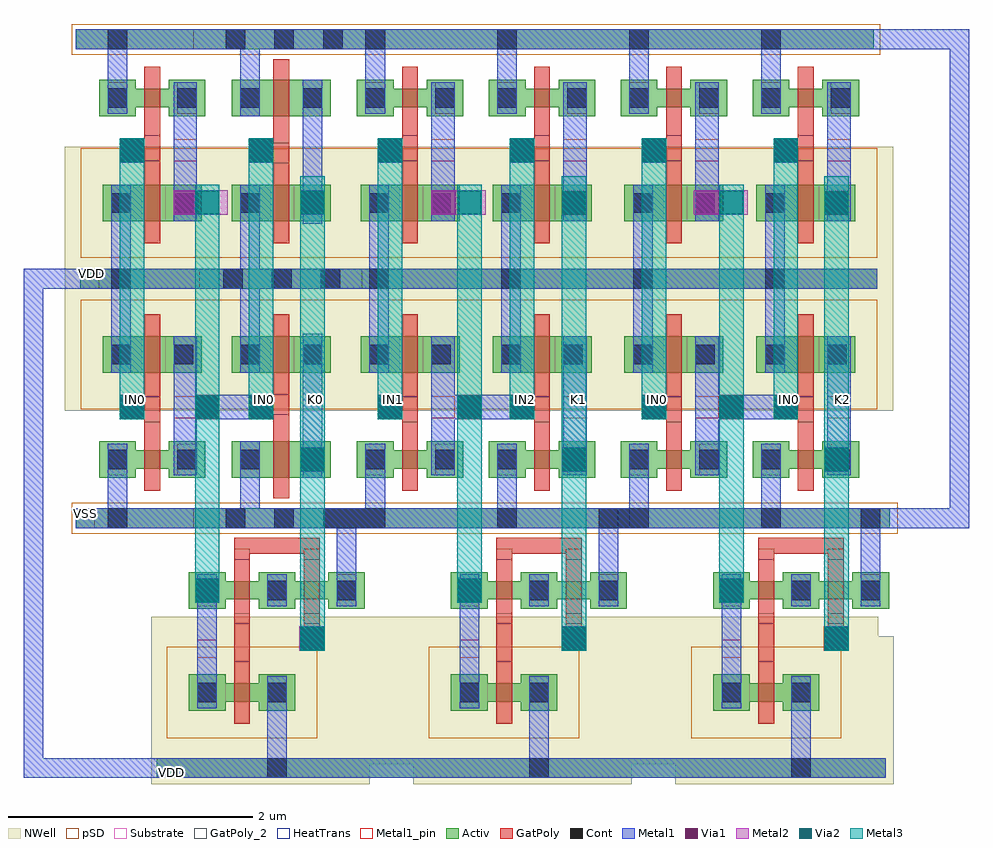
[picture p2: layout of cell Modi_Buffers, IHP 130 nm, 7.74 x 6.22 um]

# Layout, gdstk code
from math import pi, radians
import gdstk
lib = gdstk.Library(unit=1e-6, precision=5e-09)
def R(c, l, rs):  # rectangles x0, y0, x1, y1
    for r in rs: c.add(gdstk.rectangle(r[:2], r[2:], *l))
def A(c, l, x, y, w, h, nx, ny, dx, dy):  # array of equal rectangles
    R(c, l, [(x+i*dx, y+j*dy, x+i*dx+w, y+j*dy+h) for i in range(nx) for j in range(ny)])
Activ = (1, 0)
GatPoly = (5, 0)
GatPoly_2 = (5, 2)
Cont = (6, 0)
Metal1 = (8, 0)
Metal1_pin = (8, 2)
Metal2 = (10, 0)
pSD = (14, 0)
Via1 = (19, 0)
Via2 = (29, 0)
Metal3 = (30, 0)
NWell = (31, 0)
Substrate = (40, 0)
HeatTrans = (51, 0)

pmos_13 = lib.new_cell('pmos$13')
R(pmos_13, Activ, [(0,0.19,0.3,0.49), (0.57,0.19,0.87,0.49), (0,0.265,0.87,0.415)])
R(pmos_13, GatPoly, [(0.37,0.085,0.5,0.595), (0.37,0.085,0.5,0.595)])
R(pmos_13, Cont, [(0.07,0.26,0.23,0.42), (0.64,0.26,0.8,0.42)])
R(pmos_13, Metal1, [(0.07,0.21,0.23,0.47), (0.07,0.21,0.23,0.47), (0.64,0.21,0.8,0.47), (0.64,0.21,0.8,0.47)])
R(pmos_13, pSD, [(-0.18,-0.035,1.05,0.715)])
R(pmos_13, NWell, [(-0.31,-0.12,1.18,0.8)])
R(pmos_13, Substrate, [(0.57,0.19,0.87,0.49)])
R(pmos_13, HeatTrans, [(0.37,0.085,0.5,0.595)])
pmos_13.add(gdstk.Label('pmos', (0.435,0.34), layer=63, texttype=0))
pmos_13.add(gdstk.Label('pmos', (0.435,0.34), layer=51, texttype=0))

nmos_14 = lib.new_cell('nmos$14')
R(nmos_14, Activ, [(0,0.085,0.3,0.385), (0.57,0.085,0.87,0.385), (0,0.16,0.87,0.31)])
R(nmos_14, GatPoly, [(0.37,-0.02,0.5,0.51)])
R(nmos_14, GatPoly_2, [(0.37,-0.105,0.5,0.425)])
R(nmos_14, Cont, [(0.07,0.155,0.23,0.315), (0.64,0.155,0.8,0.315)])
R(nmos_14, Metal1, [(0.07,0.105,0.23,0.365), (0.64,0.105,0.8,0.365)])
R(nmos_14, Metal1_pin, [(0.07,0.105,0.23,0.365), (0.64,0.105,0.8,0.365)])
R(nmos_14, HeatTrans, [(0.37,-0.02,0.5,0.51)])
nmos_14.add(gdstk.Label('nmos', (0.435,0.235), layer=63, texttype=0))
nmos_14.add(gdstk.Label('nmos', (0.435,0.235), layer=51, texttype=0))

inv05 = lib.new_cell('INV05')
R(inv05, Activ, [(0.065,0.045,1.74,0.205), (0.095,2.09,1.775,2.25)])
R(inv05, GatPoly, [(0.44,0.99,0.57,1.01), (1.01,0.99,1.14,1.075), (0.405,1.01,0.605,1.21)])
R(inv05, GatPoly_2, [(0.44,0.765,0.57,0.905)])
R(inv05, Cont, [(0.14,0.045,0.3,0.205), (0.425,1.03,0.585,1.19), (0.71,2.09,0.87,2.25)])
R(inv05, Metal1, [(0.425,1.03,0.585,1.19)])
R(inv05, Metal1_pin, [(0.14,0.045,0.3,0.205), (1.28,1.12,1.44,1.265), (0.71,2.09,0.87,2.25)])
R(inv05, pSD, [(0,0,1.815,0.25)])
R(inv05, NWell, [(0.03,1.09,0.33,2.01), (0.03,2.01,1.82,2.3)])
inv05.add(gdstk.FlexPath([(1.075,1.075),(1.075,1.295)], 0.13, ends="flush", simple_path=True, layer=5, datatype=0))  # GatPoly
inv05.add(gdstk.FlexPath([(0.505,0.46),(0.505,0.35),(1.075,0.35),(1.075,0.46)], 0.13, ends="flush", simple_path=True, layer=5, datatype=0))  # GatPoly
inv05.add(gdstk.FlexPath([(0.79,1.68),(0.79,2.25)], 0.16, ends="flush", simple_path=True, layer=8, datatype=0))  # Metal1
inv05.add(gdstk.FlexPath([(1.36,0.845),(1.36,1.42)], 0.16, ends="flush", simple_path=True, layer=8, datatype=0))  # Metal1
inv05.add(gdstk.FlexPath([(0.22,0.045),(0.22,0.585)], 0.16, ends="flush", simple_path=True, layer=8, datatype=0))  # Metal1
inv05.add(gdstk.Reference(pmos_13, (0.64,1.21)))
inv05.add(gdstk.Reference(nmos_14, (0.07,0.48)))
inv05.add(gdstk.Reference(nmos_14, (0.64,0.48)))
inv05.add(gdstk.Label('VOUT', (1.41,1.235), layer=8, texttype=2))
inv05.add(gdstk.Label('VDD', (0.82,2.22), layer=8, texttype=2))
inv05.add(gdstk.Label('VSS', (0.255,0.15), layer=8, texttype=2))
inv05.add(gdstk.Label('VIN', (0.53,0.88), layer=5, texttype=2))

nmos_1_6 = lib.new_cell('nmos$1$6')
R(nmos_1_6, Activ, [(0,-0.055,0.3,0.245), (0.57,-0.055,0.87,0.245), (0,0.02,0.87,0.17)])
R(nmos_1_6, GatPoly, [(0.37,-0.16,0.5,0.405)])
R(nmos_1_6, GatPoly_2, [(0.37,-0.16,0.5,0.405)])
R(nmos_1_6, Cont, [(0.07,0.015,0.23,0.175), (0.64,0.015,0.8,0.175)])
R(nmos_1_6, Metal1, [(0.07,-0.035,0.23,0.225), (0.64,-0.035,0.8,0.225)])
R(nmos_1_6, Metal1_pin, [(0.07,-0.035,0.23,0.225), (0.64,-0.035,0.8,0.225)])
R(nmos_1_6, HeatTrans, [(0.37,-0.16,0.5,0.405)])
nmos_1_6.add(gdstk.Label('nmos', (0.435,0.095), layer=63, texttype=0))
nmos_1_6.add(gdstk.Label('nmos', (0.435,0.095), layer=51, texttype=0))

pmos_1_6 = lib.new_cell('pmos$1$6')
R(pmos_1_6, Activ, [(0,0.015,0.3,0.315), (0,0.015,0.81,0.315), (0.51,0.015,0.81,0.315)])
R(pmos_1_6, GatPoly, [(0.34,-0.18,0.47,0.495), (0.34,-0.18,0.47,0.495)])
R(pmos_1_6, Cont, [(0.07,0.085,0.23,0.245), (0.58,0.085,0.74,0.245)])
R(pmos_1_6, Metal1, [(0.07,0.015,0.23,0.315), (0.07,0.015,0.23,0.315), (0.58,0.015,0.74,0.315), (0.58,0.015,0.74,0.315)])
R(pmos_1_6, pSD, [(-0.18,-0.285,0.99,0.615)])
R(pmos_1_6, NWell, [(-0.31,-0.295,1.12,0.625)])
R(pmos_1_6, Substrate, [(0.51,0.015,0.81,0.315)])
R(pmos_1_6, HeatTrans, [(0.34,-0.18,0.47,0.495)])
pmos_1_6.add(gdstk.Label('pmos', (0.405,0.165), layer=63, texttype=0))
pmos_1_6.add(gdstk.Label('pmos', (0.405,0.165), layer=51, texttype=0))

inv_d1_6 = lib.new_cell('INV_D1$6')
R(inv_d1_6, Activ, [(-0.63,-1.07,0.545,-0.91), (-0.6,0.89,0.575,1.05)])
R(inv_d1_6, GatPoly, [(-0.075,-0.2,0.055,0.005), (-0.275,-0.18,-0.075,0.02)])
R(inv_d1_6, GatPoly_2, [(-0.075,-0.11,0.055,0.005)])
R(inv_d1_6, Cont, [(-0.375,-1.07,-0.215,-0.91), (-0.255,-0.16,-0.095,0), (-0.345,0.89,-0.185,1.05)])
R(inv_d1_6, Metal1, [(-0.375,-1.07,-0.215,-0.64), (0.165,-0.64,0.355,0.5), (-0.255,-0.16,-0.095,0), (-0.345,0.5,-0.185,1.05)])
R(inv_d1_6, Metal1_pin, [(-0.375,-1.07,-0.215,-0.91), (0.165,-0.17,0.355,0.01), (-0.345,0.89,-0.185,1.05)])
R(inv_d1_6, pSD, [(-0.67,-1.115,0.6,-0.865)])
R(inv_d1_6, NWell, [(-0.725,0.81,0.705,1.115)])
inv_d1_6.add(gdstk.Reference(nmos_1_6, (-0.445,-0.605)))
inv_d1_6.add(gdstk.Reference(pmos_1_6, (-0.415,0.185)))
inv_d1_6.add(gdstk.Label('VOUT', (0.315,-0.025), layer=8, texttype=2))
inv_d1_6.add(gdstk.Label('VDD', (-0.215,1.025), layer=8, texttype=2))
inv_d1_6.add(gdstk.Label('VSS', (-0.26,-0.935), layer=8, texttype=2))
inv_d1_6.add(gdstk.Label('VIN', (0.02,-0.01), layer=5, texttype=2))

pmos_2_7 = lib.new_cell('pmos$2$7')
R(pmos_2_7, Activ, [(0,-0.015,0.3,0.285), (0,-0.015,0.81,0.285), (0.51,-0.015,0.81,0.285)])
R(pmos_2_7, GatPoly, [(0.34,-0.195,0.47,0.465), (0.34,-0.195,0.47,0.465)])
R(pmos_2_7, Cont, [(0.07,0.055,0.23,0.215), (0.58,0.055,0.74,0.215)])
R(pmos_2_7, Metal1, [(0.07,-0.015,0.23,0.285), (0.07,-0.015,0.23,0.285), (0.58,-0.015,0.74,0.285), (0.58,-0.015,0.74,0.285)])
R(pmos_2_7, pSD, [(-0.18,-0.315,0.99,0.585)])
R(pmos_2_7, NWell, [(-0.31,-0.325,1.12,0.595)])
R(pmos_2_7, Substrate, [(0.51,-0.015,0.81,0.285)])
R(pmos_2_7, HeatTrans, [(0.34,-0.195,0.47,0.465)])
pmos_2_7.add(gdstk.Label('pmos', (0.405,0.135), layer=63, texttype=0))
pmos_2_7.add(gdstk.Label('pmos', (0.405,0.135), layer=51, texttype=0))

nmos_2_3 = lib.new_cell('nmos$2$3')
R(nmos_2_3, Activ, [(0,0.07,0.3,0.37), (0,0.07,0.81,0.37), (0.51,0.07,0.81,0.37)])
R(nmos_2_3, GatPoly, [(0.34,-0.095,0.47,0.59)])
R(nmos_2_3, GatPoly_2, [(0.34,-0.095,0.47,0.59)])
R(nmos_2_3, Cont, [(0.07,0.14,0.23,0.3), (0.58,0.14,0.74,0.3)])
R(nmos_2_3, Metal1, [(0.07,0.07,0.23,0.37), (0.58,0.07,0.74,0.37)])
R(nmos_2_3, Metal1_pin, [(0.07,0.07,0.23,0.37), (0.58,0.07,0.74,0.37)])
R(nmos_2_3, HeatTrans, [(0.34,-0.095,0.47,0.59)])
nmos_2_3.add(gdstk.Label('nmos', (0.405,0.22), layer=63, texttype=0))
nmos_2_3.add(gdstk.Label('nmos', (0.405,0.22), layer=51, texttype=0))

inv_d2 = lib.new_cell('INV_D2')
R(inv_d2, Activ, [(6.2,-0.7,7.69,-0.54), (6.25,1.26,7.585,1.42)])
R(inv_d2, GatPoly, [(6.655,0.19,6.855,0.39), (6.855,0.22,6.985,0.415)])
A(inv_d2, Cont, 6.445, 1.26, 0.16, 0.16, 3, 1, 0.4, 0)
R(inv_d2, Cont, [(6.465,-0.7,6.625,-0.54), (6.465,-0.7,6.625,-0.54), (6.865,-0.7,7.025,-0.54), (6.865,-0.7,7.025,-0.54), (7.265,-0.7,7.425,-0.54), (7.265,-0.7,7.425,-0.54), (6.675,0.21,6.835,0.37)])
R(inv_d2, Metal1, [(6.2,-0.7,7.69,-0.54), (6.585,-0.7,6.745,0.01), (7.095,-0.29,7.255,0.89), (6.675,0.21,6.835,0.37), (6.585,0.865,6.745,1.42), (6.25,1.26,7.585,1.42)])
R(inv_d2, Metal1_pin, [(6.2,-0.7,7.69,-0.54), (6.2,-0.7,7.69,-0.54), (7.095,-0.29,7.255,0.87), (6.675,0.21,6.835,0.37), (6.25,1.26,7.585,1.42)])
R(inv_d2, pSD, [(6.155,-0.745,7.73,-0.495), (6.2,-0.7,7.69,-0.54)])
R(inv_d2, NWell, [(6.205,1.18,7.635,1.485)])
inv_d2.add(gdstk.Reference(pmos_2_7, (6.515,0.585)))
inv_d2.add(gdstk.Reference(nmos_2_3, (6.515,-0.36)))
inv_d2.add(gdstk.Label('VDD', (6.925,1.34), layer=8, texttype=2))
inv_d2.add(gdstk.Label('VSS', (6.94,-0.625), layer=8, texttype=2))
inv_d2.add(gdstk.Label('VIN', (6.75,0.29), layer=8, texttype=2))
inv_d2.add(gdstk.Label('VOUT', (7.17,0.26), layer=8, texttype=2))

modi_buffers_placement = lib.new_cell('Modi_Buffers_placement')
r = gdstk.Reference(inv05, (6.815,2.14), rotation=pi); r.repetition = gdstk.Repetition(3, 1, v1=(-2.145,0), v2=(0,0)); modi_buffers_placement.add(r)
modi_buffers_placement.add(gdstk.Reference(inv_d1_6, (0.725,3.005)))
modi_buffers_placement.add(gdstk.Reference(inv_d2, (-5.15,2.635)))
r = gdstk.Reference(inv_d1_6, (2.835,3.005)); r.repetition = gdstk.Repetition(4, 1, v1=(1.08,0), v2=(0,0)); modi_buffers_placement.add(r)
modi_buffers_placement.add(gdstk.Reference(inv_d1_6, (0.725,4.945), x_reflection=True))
modi_buffers_placement.add(gdstk.Reference(inv_d2, (-5.15,5.315), x_reflection=True))
r = gdstk.Reference(inv_d1_6, (2.835,4.945), x_reflection=True); r.repetition = gdstk.Repetition(4, 1, v1=(1.08,0), v2=(0,0)); modi_buffers_placement.add(r)

via1_constraint_3 = lib.new_cell('VIA1_constraint$3')
R(via1_constraint_3, Metal1, [(0,0,0.2,0.2)])
R(via1_constraint_3, Metal2, [(0,0,0.2,0.2)])
R(via1_constraint_3, Via1, [(0.005,0.005,0.195,0.195)])

via2_constraint_3 = lib.new_cell('VIA2_constraint$3')
R(via2_constraint_3, Metal2, [(0,0,0.2,0.2)])
R(via2_constraint_3, Via2, [(0.005,0.005,0.195,0.195)])

modi_buffers = lib.new_cell('Modi_Buffers')
R(modi_buffers, Activ, [(0.76,-0.11,6.61,0.05)])
R(modi_buffers, Cont, [(2.225,1.935,2.62,2.095), (4.37,1.935,4.78,2.095)])
R(modi_buffers, Metal1, [(0.75,-0.11,6.72,0.05), (0.09,1.935,6.62,2.095), (0.125,3.895,6.65,4.055), (0.09,5.855,6.615,6.015)])
R(modi_buffers, Metal1_pin, [(0.09,1.935,0.245,2.095), (0.47,2.845,0.63,3.005), (1.525,2.845,1.685,3.005), (1.945,2.845,2.105,3.005), (2.58,2.845,2.74,3.005), (2.58,2.845,2.74,3.005), (3.66,2.845,3.82,3.005), (3.66,2.845,3.82,3.005), (4.09,2.845,4.25,3.005), (4.74,2.845,4.9,3.005), (5.82,2.845,5.98,3.005), (6.255,2.845,6.415,3.005), (0.125,3.895,0.28,4.055)])
R(modi_buffers, NWell, [(0.705,0,6.655,1.21)])
modi_buffers.add(gdstk.FlexPath([(1.685,2.925),(0.89,2.925)], 0.2, ends="flush", simple_path=True, layer=8, datatype=0))  # Metal1
modi_buffers.add(gdstk.FlexPath([(3.84,2.925),(3.07,2.925)], 0.2, ends="flush", simple_path=True, layer=8, datatype=0))  # Metal1
modi_buffers.add(gdstk.FlexPath([(5.925,2.925),(5.33,2.925)], 0.2, ends="flush", simple_path=True, layer=8, datatype=0))  # Metal1
modi_buffers.add(gdstk.FlexPath([(0.75,-0.03),(-0.255,-0.03),(-0.255,3.975),(0.125,3.975)], 0.16, ends="flush", simple_path=True, layer=8, datatype=0))  # Metal1
modi_buffers.add(gdstk.FlexPath([(6.58,2.015),(7.32,2.015),(7.32,5.935),(6.615,5.935)], 0.16, ends="flush", simple_path=True, layer=8, datatype=0))  # Metal1
modi_buffers.add(gdstk.FlexPath([(0.89,4.6),(1.335,4.6)], 0.2, ends="flush", simple_path=True, layer=10, datatype=0))  # Metal2
modi_buffers.add(gdstk.FlexPath([(3,4.6),(3.445,4.6)], 0.2, ends="flush", simple_path=True, layer=10, datatype=0))  # Metal2
modi_buffers.add(gdstk.FlexPath([(5.145,4.6),(5.59,4.6)], 0.2, ends="flush", simple_path=True, layer=10, datatype=0))  # Metal2
modi_buffers.add(gdstk.FlexPath([(5.145,4.6),(5.59,4.6)], 0.2, ends="flush", simple_path=True, layer=10, datatype=0))  # Metal2
modi_buffers.add(gdstk.FlexPath([(0.89,4.6),(1.335,4.6)], 0.2, ends="flush", simple_path=True, layer=10, datatype=0))  # Metal2
modi_buffers.add(gdstk.FlexPath([(2.025,4.815),(2.025,0.93)], 0.2, ends="flush", simple_path=True, layer=30, datatype=0))  # Metal3
modi_buffers.add(gdstk.FlexPath([(1.165,1.325),(1.165,4.745)], 0.2, ends="flush", simple_path=True, layer=30, datatype=0))  # Metal3
modi_buffers.add(gdstk.FlexPath([(4.165,4.815),(4.165,0.93)], 0.2, ends="flush", simple_path=True, layer=30, datatype=0))  # Metal3
modi_buffers.add(gdstk.FlexPath([(3.31,1.325),(3.31,4.745)], 0.2, ends="flush", simple_path=True, layer=30, datatype=0))  # Metal3
modi_buffers.add(gdstk.FlexPath([(6.315,4.815),(6.315,0.93)], 0.2, ends="flush", simple_path=True, layer=30, datatype=0))  # Metal3
modi_buffers.add(gdstk.FlexPath([(5.455,1.325),(5.455,4.745)], 0.2, ends="flush", simple_path=True, layer=30, datatype=0))  # Metal3
modi_buffers.add(gdstk.FlexPath([(0.55,5.125),(0.55,2.825)], 0.2, ends="flush", simple_path=True, layer=30, datatype=0))  # Metal3
modi_buffers.add(gdstk.FlexPath([(1.605,5.125),(1.605,2.825)], 0.2, ends="flush", simple_path=True, layer=30, datatype=0))  # Metal3
modi_buffers.add(gdstk.FlexPath([(2.66,5.125),(2.66,2.825)], 0.2, ends="flush", simple_path=True, layer=30, datatype=0))  # Metal3
modi_buffers.add(gdstk.FlexPath([(3.74,5.125),(3.74,2.825)], 0.2, ends="flush", simple_path=True, layer=30, datatype=0))  # Metal3
modi_buffers.add(gdstk.FlexPath([(4.82,5.125),(4.82,2.825)], 0.2, ends="flush", simple_path=True, layer=30, datatype=0))  # Metal3
modi_buffers.add(gdstk.FlexPath([(5.9,5.125),(5.9,2.825)], 0.2, ends="flush", simple_path=True, layer=30, datatype=0))  # Metal3
modi_buffers.add(gdstk.Reference(modi_buffers_placement, (0,0)))
modi_buffers.add(gdstk.Reference(via1_constraint_3, (1.925,2.395)))
modi_buffers.add(gdstk.Reference(via2_constraint_3, (1.925,2.395)))
modi_buffers.add(gdstk.Reference(via2_constraint_3, (1.925,0.93)))
modi_buffers.add(gdstk.Reference(via1_constraint_3, (1.92,0.93)))
modi_buffers.add(gdstk.Reference(via1_constraint_3, (1.065,1.325)))
modi_buffers.add(gdstk.Reference(via2_constraint_3, (1.065,1.325)))
modi_buffers.add(gdstk.Reference(via2_constraint_3, (1.065,2.825)))
modi_buffers.add(gdstk.Reference(via1_constraint_3, (1.065,2.825)))
modi_buffers.add(gdstk.Reference(via1_constraint_3, (4.065,2.395)))
modi_buffers.add(gdstk.Reference(via2_constraint_3, (4.065,2.395)))
modi_buffers.add(gdstk.Reference(via2_constraint_3, (4.065,0.93)))
modi_buffers.add(gdstk.Reference(via1_constraint_3, (4.065,0.93)))
modi_buffers.add(gdstk.Reference(via1_constraint_3, (3.21,1.325)))
modi_buffers.add(gdstk.Reference(via2_constraint_3, (3.21,1.325)))
modi_buffers.add(gdstk.Reference(via2_constraint_3, (3.21,2.825)))
modi_buffers.add(gdstk.Reference(via1_constraint_3, (3.21,2.825)))
modi_buffers.add(gdstk.Reference(via1_constraint_3, (6.215,2.395)))
modi_buffers.add(gdstk.Reference(via2_constraint_3, (6.215,2.395)))
modi_buffers.add(gdstk.Reference(via2_constraint_3, (6.215,0.93)))
modi_buffers.add(gdstk.Reference(via1_constraint_3, (6.215,0.93)))
modi_buffers.add(gdstk.Reference(via1_constraint_3, (5.355,1.325)))
modi_buffers.add(gdstk.Reference(via2_constraint_3, (5.355,1.325)))
modi_buffers.add(gdstk.Reference(via2_constraint_3, (5.355,2.825)))
modi_buffers.add(gdstk.Reference(via1_constraint_3, (5.355,2.825)))
modi_buffers.add(gdstk.Reference(via1_constraint_3, (0.45,4.925)))
modi_buffers.add(gdstk.Reference(via2_constraint_3, (0.45,4.925)))
modi_buffers.add(gdstk.Reference(via1_constraint_3, (0.45,2.825)))
modi_buffers.add(gdstk.Reference(via2_constraint_3, (0.45,2.825)))
modi_buffers.add(gdstk.Reference(via1_constraint_3, (1.505,4.925)))
modi_buffers.add(gdstk.Reference(via2_constraint_3, (1.505,4.925)))
modi_buffers.add(gdstk.Reference(via1_constraint_3, (1.505,2.825)))
modi_buffers.add(gdstk.Reference(via2_constraint_3, (1.505,2.825)))
modi_buffers.add(gdstk.Reference(via1_constraint_3, (2.56,4.925)))
modi_buffers.add(gdstk.Reference(via2_constraint_3, (2.56,4.925)))
modi_buffers.add(gdstk.Reference(via1_constraint_3, (2.56,2.825)))
modi_buffers.add(gdstk.Reference(via2_constraint_3, (2.56,2.825)))
modi_buffers.add(gdstk.Reference(via1_constraint_3, (3.64,4.925)))
modi_buffers.add(gdstk.Reference(via2_constraint_3, (3.64,4.925)))
modi_buffers.add(gdstk.Reference(via1_constraint_3, (3.64,2.825)))
modi_buffers.add(gdstk.Reference(via2_constraint_3, (3.64,2.825)))
modi_buffers.add(gdstk.Reference(via1_constraint_3, (4.72,4.925)))
modi_buffers.add(gdstk.Reference(via2_constraint_3, (4.72,4.925)))
modi_buffers.add(gdstk.Reference(via1_constraint_3, (4.72,2.825)))
modi_buffers.add(gdstk.Reference(via2_constraint_3, (4.72,2.825)))
modi_buffers.add(gdstk.Reference(via1_constraint_3, (5.8,4.925)))
modi_buffers.add(gdstk.Reference(via2_constraint_3, (5.8,4.925)))
modi_buffers.add(gdstk.Reference(via1_constraint_3, (5.8,2.825)))
modi_buffers.add(gdstk.Reference(via2_constraint_3, (5.8,2.825)))
modi_buffers.add(gdstk.Reference(via1_constraint_3, (0.89,4.5)))
modi_buffers.add(gdstk.Reference(via2_constraint_3, (1.065,4.5)))
modi_buffers.add(gdstk.Reference(via1_constraint_3, (3,4.5)))
modi_buffers.add(gdstk.Reference(via2_constraint_3, (3.21,4.5)))
modi_buffers.add(gdstk.Reference(via1_constraint_3, (5.16,4.5)))
modi_buffers.add(gdstk.Reference(via2_constraint_3, (5.355,4.5)))
modi_buffers.add(gdstk.Reference(via1_constraint_3, (5.16,4.5)))
modi_buffers.add(gdstk.Reference(via2_constraint_3, (5.355,4.5)))
modi_buffers.add(gdstk.Reference(via1_constraint_3, (0.89,4.5)))
modi_buffers.add(gdstk.Reference(via2_constraint_3, (1.065,4.5)))
modi_buffers.add(gdstk.Reference(via1_constraint_3, (1.925,4.5)))
modi_buffers.add(gdstk.Reference(via2_constraint_3, (1.925,4.5)))
modi_buffers.add(gdstk.Reference(via1_constraint_3, (1.925,4.5)))
modi_buffers.add(gdstk.Reference(via2_constraint_3, (1.925,4.5)))
modi_buffers.add(gdstk.Reference(via2_constraint_3, (4.065,4.495)))
modi_buffers.add(gdstk.Reference(via1_constraint_3, (4.065,4.495)))
modi_buffers.add(gdstk.Reference(via1_constraint_3, (6.215,4.495)))
modi_buffers.add(gdstk.Reference(via2_constraint_3, (6.215,4.495)))
modi_buffers.add(gdstk.Label('VDD', (0.22,4.02), layer=8, texttype=2))
modi_buffers.add(gdstk.Label('VSS', (0.165,2.055), layer=8, texttype=2))
modi_buffers.add(gdstk.Label('IN0', (0.58,2.985), layer=8, texttype=2))
modi_buffers.add(gdstk.Label('IN1', (2.69,2.985), layer=8, texttype=2))
modi_buffers.add(gdstk.Label('IN2', (3.77,2.985), layer=8, texttype=2))
modi_buffers.add(gdstk.Label('K0', (2.055,2.985), layer=8, texttype=2))
modi_buffers.add(gdstk.Label('K1', (4.2,2.985), layer=8, texttype=2))
modi_buffers.add(gdstk.Label('K2', (6.365,2.985), layer=8, texttype=2))
modi_buffers.add(gdstk.Label('IN0', (1.635,2.985), layer=8, texttype=2))
modi_buffers.add(gdstk.Label('IN0', (2.69,2.985), layer=8, texttype=2))
modi_buffers.add(gdstk.Label('IN0', (3.77,2.985), layer=8, texttype=2))
modi_buffers.add(gdstk.Label('IN0', (4.85,2.985), layer=8, texttype=2))
modi_buffers.add(gdstk.Label('IN0', (5.93,2.985), layer=8, texttype=2))
modi_buffers.add(gdstk.Label('VDD', (0.215,3.98), layer=8, texttype=25))
modi_buffers.add(gdstk.Label('VDD', (0.875,-0.065), layer=8, texttype=25))
modi_buffers.add(gdstk.Label('VSS', (0.18,2), layer=8, texttype=25))
modi_buffers.add(gdstk.Label('IN0', (0.58,2.935), layer=8, texttype=25))
modi_buffers.add(gdstk.Label('IN1', (2.69,2.935), layer=8, texttype=25))
modi_buffers.add(gdstk.Label('IN2', (3.77,2.935), layer=8, texttype=25))
modi_buffers.add(gdstk.Label('K0', (2.055,2.935), layer=8, texttype=25))
modi_buffers.add(gdstk.Label('K1', (4.2,2.935), layer=8, texttype=25))
modi_buffers.add(gdstk.Label('K2', (6.365,2.935), layer=8, texttype=25))
modi_buffers.add(gdstk.Label('IN0', (1.635,2.935), layer=8, texttype=25))
modi_buffers.add(gdstk.Label('IN0', (2.69,2.935), layer=8, texttype=25))
modi_buffers.add(gdstk.Label('IN0', (3.77,2.935), layer=8, texttype=25))
modi_buffers.add(gdstk.Label('IN0', (4.85,2.935), layer=8, texttype=25))
modi_buffers.add(gdstk.Label('IN0', (5.93,2.935), layer=8, texttype=25))

lib.write_gds('Modi_Buffers.gds')
